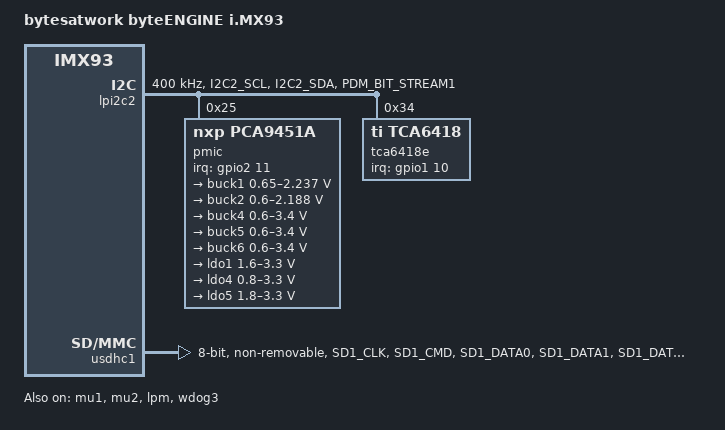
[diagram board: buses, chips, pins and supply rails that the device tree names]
// SPDX-License-Identifier: (GPL-2.0+ OR MIT)
/*
 * Copyright 2024 bytesatwork AG
 */

#include "imx93.dtsi"

/ {
	model = "bytesatwork byteENGINE i.MX93";
	compatible = "bytesatwork,byteengine-imx93", "fsl,imx93";
};

&mu1 {
	status = "okay";
};

&mu2 {
	status = "okay";
};

&lpm {
	soc-supply = <&buck1>;
	status = "okay";
};

&lpi2c2 {
	#address-cells = <1>;
	#size-cells = <0>;
	clock-frequency = <400000>;
	pinctrl-names = "default", "sleep";
	pinctrl-0 = <&pinctrl_lpi2c2>;
	pinctrl-1 = <&pinctrl_lpi2c2>;
	status = "okay";

	pmic@25 {
		compatible = "nxp,pca9451a";
		reg = <0x25>;
		interrupt-parent = <&gpio2>;
		interrupts = <11 IRQ_TYPE_EDGE_FALLING>;

		regulators {
			buck1: BUCK1 {
				regulator-name = "BUCK1";
				regulator-min-microvolt = <650000>;
				regulator-max-microvolt = <2237500>;
				regulator-boot-on;
				regulator-always-on;
				regulator-ramp-delay = <3125>;
			};

			buck2: BUCK2 {
				regulator-name = "BUCK2";
				regulator-min-microvolt = <600000>;
				regulator-max-microvolt = <2187500>;
				regulator-boot-on;
				regulator-always-on;
				regulator-ramp-delay = <3125>;
			};

			buck4: BUCK4{
				regulator-name = "BUCK4";
				regulator-min-microvolt = <600000>;
				regulator-max-microvolt = <3400000>;
				regulator-boot-on;
				regulator-always-on;
			};

			buck5: BUCK5{
				regulator-name = "BUCK5";
				regulator-min-microvolt = <600000>;
				regulator-max-microvolt = <3400000>;
				regulator-boot-on;
				regulator-always-on;
			};

			buck6: BUCK6 {
				regulator-name = "BUCK6";
				regulator-min-microvolt = <600000>;
				regulator-max-microvolt = <3400000>;
				regulator-boot-on;
				regulator-always-on;
			};

			ldo1: LDO1 {
				regulator-name = "LDO1";
				regulator-min-microvolt = <1600000>;
				regulator-max-microvolt = <3300000>;
				regulator-boot-on;
				regulator-always-on;
			};

			ldo4: LDO4 {
				regulator-name = "LDO4";
				regulator-min-microvolt = <800000>;
				regulator-max-microvolt = <3300000>;
				regulator-boot-on;
				regulator-always-on;
			};

			ldo5: LDO5 {
				regulator-name = "LDO5";
				regulator-min-microvolt = <1800000>;
				regulator-max-microvolt = <3300000>;
				regulator-boot-on;
				regulator-always-on;
			};
		};
	};

	/* I2C IOexpander */
	tca6418e: tca6418e@34 {
		compatible = "ti,tca6418";
		reg = <0x34>;
		gpio-controller;
		#gpio-cells = <2>;
		interrupt-parent = <&gpio1>;
		interrupts = <10 IRQ_TYPE_EDGE_FALLING>;
	};
};

&usdhc1 {
	pinctrl-names = "default", "state_100mhz", "state_200mhz";
	pinctrl-0 = <&pinctrl_usdhc1>;
	pinctrl-1 = <&pinctrl_usdhc1_100mhz>;
	pinctrl-2 = <&pinctrl_usdhc1_200mhz>;
	bus-width = <8>;
	non-removable;
	status = "okay";
};

&wdog3 {
	status = "okay";
};

&iomuxc {
	/* need to config the SION for data and cmd pad, refer to ERR052021 */
	pinctrl_usdhc1: usdhc1grp {
		fsl,pins = <
			MX93_PAD_SD1_CLK__USDHC1_CLK		0x1582
			MX93_PAD_SD1_CMD__USDHC1_CMD		0x40001382
			MX93_PAD_SD1_DATA0__USDHC1_DATA0	0x40001382
			MX93_PAD_SD1_DATA1__USDHC1_DATA1	0x40001382
			MX93_PAD_SD1_DATA2__USDHC1_DATA2	0x40001382
			MX93_PAD_SD1_DATA3__USDHC1_DATA3	0x40001382
			MX93_PAD_SD1_DATA4__USDHC1_DATA4	0x40001382
			MX93_PAD_SD1_DATA5__USDHC1_DATA5	0x40001382
			MX93_PAD_SD1_DATA6__USDHC1_DATA6	0x40001382
			MX93_PAD_SD1_DATA7__USDHC1_DATA7	0x40001382
			MX93_PAD_SD1_STROBE__USDHC1_STROBE	0x1582
		>;
	};

	/* need to config the SION for data and cmd pad, refer to ERR052021 */
	pinctrl_usdhc1_100mhz: usdhc1-100mhzgrp {
		fsl,pins = <
			MX93_PAD_SD1_CLK__USDHC1_CLK		0x158e
			MX93_PAD_SD1_CMD__USDHC1_CMD		0x4000138e
			MX93_PAD_SD1_DATA0__USDHC1_DATA0	0x4000138e
			MX93_PAD_SD1_DATA1__USDHC1_DATA1	0x4000138e
			MX93_PAD_SD1_DATA2__USDHC1_DATA2	0x4000138e
			MX93_PAD_SD1_DATA3__USDHC1_DATA3	0x4000138e
			MX93_PAD_SD1_DATA4__USDHC1_DATA4	0x4000138e
			MX93_PAD_SD1_DATA5__USDHC1_DATA5	0x4000138e
			MX93_PAD_SD1_DATA6__USDHC1_DATA6	0x4000138e
			MX93_PAD_SD1_DATA7__USDHC1_DATA7	0x4000138e
			MX93_PAD_SD1_STROBE__USDHC1_STROBE	0x158e
		>;
	};

	/* need to config the SION for data and cmd pad, refer to ERR052021 */
	pinctrl_usdhc1_200mhz: usdhc1-200mhzgrp {
		fsl,pins = <
			MX93_PAD_SD1_CLK__USDHC1_CLK		0x15fe
			MX93_PAD_SD1_CMD__USDHC1_CMD		0x400013fe
			MX93_PAD_SD1_DATA0__USDHC1_DATA0	0x400013fe
			MX93_PAD_SD1_DATA1__USDHC1_DATA1	0x400013fe
			MX93_PAD_SD1_DATA2__USDHC1_DATA2	0x400013fe
			MX93_PAD_SD1_DATA3__USDHC1_DATA3	0x400013fe
			MX93_PAD_SD1_DATA4__USDHC1_DATA4	0x400013fe
			MX93_PAD_SD1_DATA5__USDHC1_DATA5	0x400013fe
			MX93_PAD_SD1_DATA6__USDHC1_DATA6	0x400013fe
			MX93_PAD_SD1_DATA7__USDHC1_DATA7	0x400013fe
			MX93_PAD_SD1_STROBE__USDHC1_STROBE	0x15fe
		>;
	};

	pinctrl_lpi2c2: lpi2c2grp {
		fsl,pins = <
			MX93_PAD_I2C2_SCL__LPI2C2_SCL		0x40000b9e
			MX93_PAD_I2C2_SDA__LPI2C2_SDA		0x40000b9e
			MX93_PAD_PDM_BIT_STREAM1__GPIO1_IO10	0x1280
		>;
	};

};
